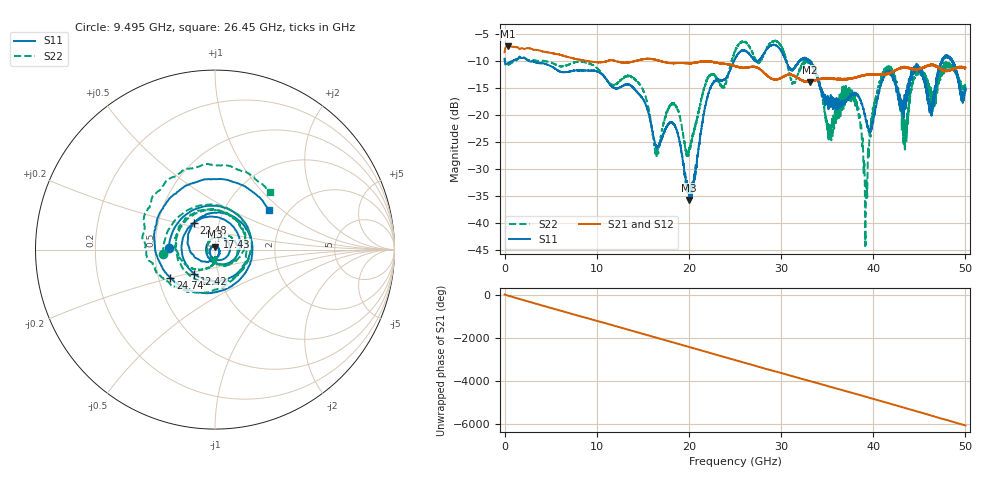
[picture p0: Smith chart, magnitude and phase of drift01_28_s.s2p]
!Created with skrf (http://scikit-rf.org).
# Hz S RI R 50.0
!freq ReS11 ImS11 ReS21 ImS21 ReS12 ImS12 ReS22 ImS22
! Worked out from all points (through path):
!   10001 points, 300 kHz to 50 GHz, reference 50 ohm
!   highest |S21| = -7.33 dB at 315.3 MHz (marker M1); lowest = -14.0 dB at 33.16 GHz (marker M2)
!   group delay of S21, straight-line fit = 335 ps
!   lowest |S11| = -35.8 dB at 20.03 GHz (marker M3), VSWR 1.03, Z = 50.1 + j1.63 ohm
!   |S11| at or under -10 dB: 2.566 GHz to 24.9 GHz (22.34 GHz wide, 163 % of centre); 30.51 GHz to 32.01 GHz (1.509 GHz wide, 4.83 % of centre); 33.06 GHz to 47.44 GHz (14.38 GHz wide, 35.7 % of centre) (the widest 3 of 23)
!   |S22| runs from -44.3 to -6.2 dB; largest |S21 - S12| = 0.0082
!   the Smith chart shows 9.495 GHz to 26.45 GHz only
!   S11 on the Smith chart (normalised r, x): 9.495 GHz: 0.59, +0.01; 12.42 GHz: 0.77, -0.21; 17.43 GHz: 1.02, +0.15; 22.48 GHz: 0.76, +0.23; 24.74 GHz: 0.58, -0.20; 26.45 GHz: 1.59, +0.83
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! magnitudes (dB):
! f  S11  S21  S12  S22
! 300 kHz  -9.6  -8.4  -8.5  -9.5
! 315.3 MHz  -10.5  -7.3  -7.3  -10.9
! 8.335 GHz  -11.8  -9.9  -9.9  -10.2
! 9.495 GHz  -11.8  -10.2  -10.2  -10.8
! 12.42 GHz  -15.0  -10.2  -10.2  -13.9
! 16.67 GHz  -26.0  -10.0  -9.9  -27.2
! 17.43 GHz  -22.7  -10.3  -10.3  -20.4
! 20.03 GHz  -35.8  -10.5  -10.5  -26.4
! 22.48 GHz  -14.5  -10.2  -10.2  -12.6
! 24.74 GHz  -10.6  -10.9  -10.9  -9.4
! 25 GHz  -9.6  -11.0  -11.0  -8.3
! 26.45 GHz  -8.6  -11.2  -11.2  -7.1
! 33.16 GHz  -10.2  -14.0  -13.9  -10.2
! 33.34 GHz  -10.8  -13.8  -13.8  -10.6
! 35.24 GHz  -17.0  -13.3  -13.3  -23.0
! 37.99 GHz  -16.0  -13.2  -13.2  -17.2
! 39.17 GHz  -20.7  -12.7  -12.7  -42.0
! 40.14 GHz  -19.9  -12.5  -12.5  -17.9
! 41.67 GHz  -12.1  -12.3  -12.3  -11.7
! 43.45 GHz  -17.2  -11.3  -11.3  -26.4
! 44.83 GHz  -11.4  -11.6  -11.5  -12.3
! 50 GHz  -15.6  -11.3  -11.4  -14.9
